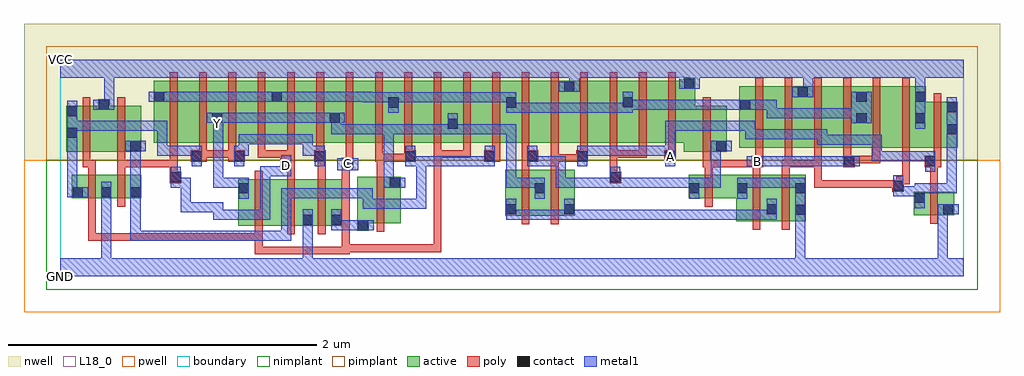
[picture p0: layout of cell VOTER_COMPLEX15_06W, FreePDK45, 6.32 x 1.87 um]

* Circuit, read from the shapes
.subckt VOTER_COMPLEX15_06W A B C D GND VCC Y
M1 GND C n1 VSUBS nfet w=0.15u l=0.05u
M2 n2 D GND VSUBS nfet w=0.15u l=0.05u
M3 n3 C Y VSUBS nfet w=0.3u l=0.05u
M4 GND D n3 VSUBS nfet w=0.3u l=0.05u
M5 n4 n1 GND VSUBS nfet w=0.3u l=0.05u
M6 Y n2 n4 VSUBS nfet w=0.3u l=0.05u
M7 Y n5 n6 VSUBS nfet w=0.3u l=0.05u
M8 n6 A Y VSUBS nfet w=0.3u l=0.05u
M9 GND B n5 VSUBS nfet w=0.15u l=0.05u
M10 n6 B GND VSUBS nfet w=0.3u l=0.05u
M11 GND n7 n6 VSUBS nfet w=0.3u l=0.05u
M12 GND A n7 VSUBS nfet w=0.15u l=0.05u
M13 VCC C n1 n8 pfet w=0.3u l=0.05u
M14 n2 D VCC n8 pfet w=0.3u l=0.05u
M15 n9 D n10 n8 pfet w=0.4u l=0.05u
M16 Y n1 n9 n8 pfet w=0.4u l=0.05u
M17 n11 n1 Y n8 pfet w=0.4u l=0.05u
M18 n10 D n11 n8 pfet w=0.4u l=0.05u
M19 n12 D n10 n8 pfet w=0.4u l=0.05u
M20 Y n1 n12 n8 pfet w=0.4u l=0.05u
M21 n13 C Y n8 pfet w=0.4u l=0.05u
M22 n10 n2 n13 n8 pfet w=0.4u l=0.05u
M23 n14 n2 n10 n8 pfet w=0.4u l=0.05u
M24 Y C n14 n8 pfet w=0.4u l=0.05u
M25 n15 C Y n8 pfet w=0.4u l=0.05u
M26 n10 n2 n15 n8 pfet w=0.4u l=0.05u
M27 n16 n5 n10 n8 pfet w=0.4u l=0.05u
M28 VCC A n16 n8 pfet w=0.4u l=0.05u
M29 n17 A VCC n8 pfet w=0.4u l=0.05u
M30 n10 n5 n17 n8 pfet w=0.4u l=0.05u
M31 n18 n5 n10 n8 pfet w=0.4u l=0.05u
M32 VCC A n18 n8 pfet w=0.4u l=0.05u
M33 n5 B VCC n8 pfet w=0.3u l=0.05u
M34 n19 B n10 n8 pfet w=0.4u l=0.05u
M35 VCC n7 n19 n8 pfet w=0.4u l=0.05u
M36 n20 n7 VCC n8 pfet w=0.4u l=0.05u
M37 n10 B n20 n8 pfet w=0.4u l=0.05u
M38 n21 B n10 n8 pfet w=0.4u l=0.05u
M39 VCC n7 n21 n8 pfet w=0.4u l=0.05u
M40 n7 A VCC n8 pfet w=0.3u l=0.05u
.ends

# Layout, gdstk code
import gdstk
lib = gdstk.Library(unit=1e-6, precision=1e-09)
def R(c, l, rs):  # rectangles x0, y0, x1, y1
    for r in rs: c.add(gdstk.rectangle(r[:2], r[2:], *l))
def A(c, l, x, y, w, h, nx, ny, dx, dy):  # array of equal rectangles
    R(c, l, [(x+i*dx, y+j*dy, x+i*dx+w, y+j*dy+h) for i in range(nx) for j in range(ny)])
active = (1, 0)
pwell = (2, 0)
nwell = (3, 0)
nimplant = (4, 0)
pimplant = (5, 0)
poly = (9, 0)
contact = (10, 0)
metal1 = (11, 0)
L18_0 = (18, 0)
boundary = (235, 0)

voter_complex15_06w = lib.new_cell('VOTER_COMPLEX15_06W')
A(voter_complex15_06w, active, 4.625, 0.83, 0.225, 0.4, 3, 1, 0.38, 0)
R(voter_complex15_06w, active, [(1.925,0.292,2,0.517), (1.152,0.327,1.4,0.627), (1.4,0.327,1.64,0.627), (1.565,0.327,1.825,0.627), (1.565,0.327,1.64,0.517), (1.75,0.327,1.825,0.517), (1.925,0.342,2.205,0.642), (2.13,0.342,2.205,0.642), (4.382,0.355,4.457,0.655), (4.382,0.355,4.647,0.655), (4.572,0.355,4.832,0.655), (4.572,0.355,4.647,0.597), (4.757,0.355,4.832,0.655), (2.885,0.39,2.96,0.69), (2.885,0.39,3.145,0.69), (3.07,0.39,3.335,0.69), (3.26,0.39,3.335,0.69), (1.152,0.395,1.262,0.627), (3.07,0.395,3.145,0.607), (5.532,0.395,5.607,0.545), (5.532,0.395,5.792,0.545), (5.717,0.395,5.792,0.545), (0.075,0.505,0.15,0.655), (0.075,0.505,0.335,0.655), (0.26,0.505,0.335,0.655), (0.26,0.505,0.525,0.655), (0.45,0.505,0.525,0.655), (4.072,0.505,4.147,0.655), (4.072,0.505,4.457,0.655), (0.04,0.805,0.115,1.105), (0.04,0.805,0.32,1.105), (0.245,0.805,0.525,1.105), (0.45,0.805,0.525,0.94), (4.04,0.805,4.32,1.105), (4.245,0.805,4.32,0.917), (4.4,0.83,4.625,1.23), (4.775,0.83,5.005,1.23), (5.155,0.83,5.23,1.2), (5.155,0.83,5.385,1.23), (5.535,0.83,5.815,1.13), (5.535,0.83,5.61,1.2), (5.74,0.83,5.815,1.13), (4.775,0.85,4.85,1.23), (0.605,0.865,0.83,1.265), (0.83,0.865,1.055,1.265), (0.98,0.865,1.21,1.265), (0.98,0.865,1.055,1.07), (1.21,0.865,1.44,1.265), (1.365,0.865,1.59,1.265), (1.59,0.865,1.815,1.265), (1.74,0.865,1.97,1.265), (1.74,0.865,1.815,1.07), (1.97,0.865,2.197,1.265), (2.122,0.865,2.197,1.2), (2.122,0.865,2.35,1.265), (2.35,0.865,2.58,1.265), (2.505,0.865,2.73,1.265), (2.505,0.865,2.58,1.07), (2.73,0.865,2.96,1.265), (2.885,0.865,3.11,1.265), (2.885,0.865,2.96,1.2), (3.11,0.865,3.335,1.265), (3.26,0.865,3.49,1.265), (3.26,0.865,3.335,1.265), (3.49,0.865,3.715,1.265), (3.64,0.865,3.87,1.265), (3.64,0.865,3.715,1.2), (3.87,0.865,4.115,1.265), (0.245,0.885,0.32,1.147), (1.365,0.89,1.44,1.2), (0.605,0.907,0.71,1.2), (4.04,0.907,4.115,1.285), (4.4,0.907,4.505,1.2)])
R(voter_complex15_06w, pwell, [(-0.235,-0.235,6.09,0.75)])
R(voter_complex15_06w, nwell, [(-0.235,0.75,6.09,1.635)])
R(voter_complex15_06w, nimplant, [(-0.09,-0.09,5.945,0.75)])
R(voter_complex15_06w, pimplant, [(-0.09,0.75,5.945,1.49)])
A(voter_complex15_06w, poly, 0.9, 0.765, 0.05, 0.095, 5, 1, 0.19, 0)
A(voter_complex15_06w, poly, 2.23, 0.765, 0.05, 0.095, 5, 1, 0.19, 0)
A(voter_complex15_06w, poly, 3.37, 0.765, 0.05, 0.095, 4, 1, 0.19, 0)
A(voter_complex15_06w, poly, 4.505, 0.775, 0.05, 0.51, 6, 1, 0.19, 0)
A(voter_complex15_06w, poly, 0.71, 0.81, 0.05, 0.51, 18, 1, 0.19, 0)
R(voter_complex15_06w, poly, [(1.262,0.14,1.462,0.19), (1.262,0.14,1.312,0.277), (1.412,0.14,1.462,0.19), (1.412,0.14,1.462,0.19), (1.412,0.14,1.462,0.19), (1.412,0.14,1.61,0.19), (1.56,0.14,1.61,0.19), (1.56,0.14,1.61,0.19), (1.56,0.14,1.61,0.19), (1.56,0.14,1.742,0.19), (1.692,0.14,1.742,0.19), (1.692,0.14,1.875,0.19), (1.825,0.14,1.875,0.205), (1.825,0.155,1.875,0.205), (1.825,0.155,1.875,0.205), (1.825,0.155,1.875,0.205), (1.825,0.155,1.875,0.205), (1.825,0.155,2.007,0.205), (1.825,0.155,1.875,0.742), (1.957,0.155,2.007,0.205), (1.957,0.155,2.205,0.205), (2.155,0.155,2.205,0.205), (2.155,0.155,2.337,0.205), (2.287,0.155,2.337,0.205), (2.287,0.155,2.337,0.205), (2.287,0.155,2.337,0.205), (2.287,0.155,2.337,0.205), (2.287,0.155,2.337,0.205), (2.287,0.155,2.337,0.205), (2.287,0.155,2.337,0.205), (2.287,0.155,2.47,0.205), (2.42,0.155,2.47,0.205), (2.42,0.155,2.47,0.815), (0.18,0.227,0.23,0.277), (0.18,0.227,0.23,0.277), (0.18,0.227,0.23,0.277), (0.18,0.227,0.23,0.277), (0.18,0.227,0.23,0.277), (0.18,0.227,0.42,0.277), (0.18,0.227,0.23,0.5), (0.37,0.227,0.42,0.277), (0.37,0.227,0.42,0.277), (0.37,0.227,0.42,0.277), (0.37,0.227,0.552,0.277), (0.502,0.227,0.552,0.277), (0.502,0.227,0.552,0.277), (0.502,0.227,0.552,0.277), (0.502,0.227,0.892,0.277), (0.842,0.227,0.892,0.277), (0.842,0.227,0.892,0.277), (0.842,0.227,0.892,0.277), (0.842,0.227,1.152,0.277), (1.102,0.227,1.152,0.277), (1.102,0.227,1.152,0.277), (1.102,0.227,1.152,0.277), (1.102,0.227,1.312,0.277), (1.262,0.227,1.312,0.322), (1.262,0.227,1.312,0.277), (1.262,0.227,1.312,0.277), (1.262,0.272,1.312,0.682), (1.47,0.272,1.52,0.682), (1.67,0.272,1.72,0.682), (2.05,0.287,2.1,0.697), (4.487,0.3,4.537,0.71), (4.677,0.3,4.727,0.71), (2.99,0.335,3.04,0.745), (3.18,0.335,3.23,0.745), (5.637,0.34,5.687,0.6), (0.18,0.45,0.23,0.71), (0.37,0.45,0.42,0.71), (4.177,0.45,4.227,0.71), (5.392,0.547,5.467,0.622), (5.637,0.55,5.687,0.755), (4.885,0.572,4.935,0.622), (4.885,0.572,4.935,0.622), (4.885,0.572,4.935,0.622), (4.885,0.572,5.162,0.622), (4.885,0.572,4.935,0.755), (5.112,0.572,5.162,0.622), (5.112,0.572,5.162,0.622), (5.112,0.572,5.162,0.622), (5.112,0.572,5.295,0.622), (5.245,0.572,5.295,0.622), (5.245,0.572,5.442,0.622), (5.392,0.572,5.442,0.622), (5.392,0.572,5.442,0.622), (5.417,0.572,5.467,0.645), (5.417,0.572,5.467,0.622), (5.417,0.572,5.467,0.622), (5.417,0.595,5.505,0.645), (5.455,0.595,5.505,0.825), (0.71,0.602,0.785,0.677), (3.56,0.602,3.635,0.677), (0.71,0.627,0.76,0.755), (3.56,0.627,3.61,0.677), (3.56,0.627,3.61,0.677), (3.56,0.627,3.61,0.815), (1.47,0.632,1.52,0.727), (1.67,0.632,1.72,0.79), (2.05,0.647,2.1,0.792), (0.18,0.66,0.23,0.755), (0.37,0.66,0.42,0.755), (4.177,0.66,4.227,0.755), (4.487,0.66,4.537,0.755), (4.677,0.66,4.727,0.755), (1.427,0.677,1.52,0.815), (1.825,0.692,1.875,0.742), (1.825,0.692,1.875,0.742), (1.825,0.692,1.875,0.742), (1.825,0.692,1.875,0.742), (1.825,0.692,1.9,0.767), (2.99,0.695,3.04,0.79), (3.18,0.695,3.23,0.79), (0.145,0.705,0.195,0.8), (0.145,0.705,0.23,0.755), (0.37,0.705,0.42,0.8), (0.37,0.705,0.42,0.755), (0.37,0.705,0.42,0.755), (0.37,0.705,0.42,0.755), (0.37,0.705,0.76,0.755), (0.71,0.705,0.76,0.755), (0.71,0.705,0.76,0.755), (0.71,0.705,0.76,0.755), (0.71,0.705,0.76,0.755), (0.71,0.705,0.76,0.755), (0.71,0.705,0.76,0.86), (4.165,0.705,4.215,0.8), (4.165,0.705,4.227,0.755), (4.177,0.705,4.227,0.755), (4.177,0.705,4.227,0.755), (4.177,0.705,4.53,0.755), (4.48,0.705,4.53,0.755), (4.48,0.705,4.53,0.755), (4.48,0.705,4.555,0.78), (4.677,0.705,4.745,0.755), (4.695,0.705,4.745,0.755), (4.695,0.705,4.745,0.755), (4.695,0.705,4.745,0.825), (4.695,0.705,4.935,0.755), (4.885,0.705,4.935,0.755), (4.885,0.705,4.935,0.755), (4.885,0.705,4.935,0.755), (4.885,0.705,4.935,0.825), (5.075,0.705,5.15,0.78), (5.602,0.705,5.71,0.78), (1.85,0.717,1.9,0.86), (4.505,0.73,4.555,0.825), (5.075,0.73,5.125,0.825), (5.1,0.73,5.15,0.78), (5.1,0.73,5.15,0.78), (5.1,0.73,5.315,0.78), (5.265,0.73,5.315,0.825), (5.265,0.73,5.315,0.78), (5.66,0.73,5.71,0.825), (0.847,0.74,0.95,0.815), (1.09,0.74,1.197,0.815), (1.645,0.74,1.72,0.815), (2.23,0.74,2.305,0.815), (2.747,0.74,2.85,0.815), (2.99,0.74,3.097,0.815), (3.18,0.74,3.23,0.79), (3.18,0.74,3.23,0.79), (3.18,0.74,3.23,0.79), (3.18,0.74,3.395,0.79), (3.18,0.74,3.23,0.86), (3.345,0.74,3.42,0.815), (3.915,0.74,3.99,0.815), (2.04,0.742,2.09,0.86), (2.04,0.742,2.1,0.792), (2.05,0.742,2.1,0.792), (2.05,0.742,2.1,0.792), (2.05,0.742,2.28,0.792), (0.145,0.75,0.195,1.16), (0.37,0.75,0.42,1.16), (4.165,0.75,4.215,1.16), (0.9,0.765,1.14,0.815), (1.09,0.765,1.14,0.815), (1.09,0.765,1.14,0.815), (1.28,0.765,1.33,0.815), (1.28,0.765,1.477,0.815), (1.427,0.765,1.477,0.815), (1.427,0.765,1.477,0.815), (2.42,0.765,2.47,0.815), (2.42,0.765,2.47,0.815), (2.42,0.765,2.47,0.815), (2.42,0.765,2.47,0.815), (2.42,0.765,2.47,0.815), (2.42,0.765,2.66,0.815), (2.61,0.765,2.66,0.815), (3.56,0.765,3.61,0.815), (3.56,0.765,3.8,0.815), (3.75,0.765,3.8,0.815), (3.75,0.765,3.8,0.815), (3.75,0.765,3.8,0.815), (5.66,0.775,5.71,1.185)])
R(voter_complex15_06w, contact, [(1.93,0.297,1.995,0.362), (1.57,0.332,1.635,0.397), (1.755,0.332,1.82,0.397), (4.762,0.397,4.827,0.462), (2.89,0.4,2.955,0.465), (3.265,0.4,3.33,0.465), (4.577,0.4,4.642,0.465), (5.722,0.4,5.787,0.465), (5.537,0.475,5.602,0.54), (0.08,0.51,0.145,0.575), (0.265,0.51,0.33,0.575), (0.455,0.51,0.52,0.575), (1.157,0.537,1.222,0.602), (3.075,0.537,3.14,0.602), (4.077,0.537,4.142,0.602), (4.387,0.537,4.452,0.602), (4.762,0.537,4.827,0.602), (5.397,0.552,5.462,0.617), (2.135,0.572,2.2,0.637), (0.715,0.607,0.78,0.672), (3.565,0.607,3.63,0.672), (1.432,0.682,1.497,0.747), (1.83,0.697,1.895,0.762), (4.485,0.71,4.55,0.775), (5.08,0.71,5.145,0.775), (5.607,0.71,5.672,0.775), (0.852,0.745,0.917,0.81), (1.127,0.745,1.192,0.81), (1.65,0.745,1.715,0.81), (2.235,0.745,2.3,0.81), (2.752,0.745,2.817,0.81), (3.027,0.745,3.092,0.81), (3.35,0.745,3.415,0.81), (3.92,0.745,3.985,0.81), (0.455,0.81,0.52,0.875), (4.25,0.81,4.315,0.875), (0.045,0.895,0.11,0.96), (5.745,0.92,5.81,0.985), (2.51,0.955,2.575,1.02), (5.16,0.99,5.225,1.055), (5.54,0.99,5.605,1.055), (0.985,0.992,1.05,1.057), (1.745,0.992,1.81,1.057), (0.045,1.035,0.11,1.1), (5.745,1.06,5.81,1.125), (0.25,1.077,0.315,1.142), (4.405,1.077,4.47,1.142), (2.127,1.092,2.192,1.157), (2.89,1.092,2.955,1.157), (3.645,1.095,3.71,1.16), (0.61,1.13,0.675,1.195), (1.37,1.13,1.435,1.195), (5.16,1.13,5.225,1.195), (5.54,1.13,5.605,1.195), (4.78,1.16,4.845,1.225), (3.265,1.195,3.33,1.26), (4.045,1.215,4.11,1.28)])
R(voter_complex15_06w, metal1, [(0,0,5.855,0.115), (0.265,0.05,0.33,0.115), (0.265,0.05,0.33,0.115), (0.265,0.05,0.33,0.54), (1.57,0.05,1.635,0.115), (1.57,0.05,1.635,0.115), (1.57,0.05,1.635,0.115), (1.57,0.05,1.635,0.115), (1.57,0.05,1.635,0.362), (4.762,0.05,4.827,0.115), (4.762,0.05,4.827,0.115), (4.762,0.05,4.827,0.115), (4.762,0.05,4.827,0.115), (4.762,0.05,4.827,0.427), (5.687,0.05,5.752,0.115), (5.687,0.05,5.752,0.115), (5.687,0.05,5.752,0.115), (5.687,0.05,5.752,0.115), (5.687,0.05,5.752,0.465), (0.455,0.227,0.52,0.292), (0.455,0.227,0.692,0.292), (0.455,0.227,0.52,0.54), (0.627,0.227,0.692,0.292), (0.627,0.227,0.847,0.292), (0.782,0.227,0.847,0.292), (0.782,0.227,0.985,0.292), (0.92,0.227,0.985,0.292), (0.92,0.227,0.985,0.292), (0.92,0.227,0.985,0.292), (0.92,0.227,1.222,0.292), (1.157,0.227,1.222,0.292), (1.157,0.227,1.222,0.292), (1.157,0.227,1.222,0.292), (1.157,0.227,1.36,0.292), (1.295,0.227,1.36,0.292), (1.295,0.227,1.497,0.292), (1.432,0.227,1.497,0.292), (1.432,0.227,1.497,0.57), (1.57,0.297,1.635,0.432), (1.755,0.297,1.82,0.362), (1.755,0.297,1.82,0.362), (1.755,0.297,1.82,0.432), (1.755,0.297,1.96,0.362), (1.895,0.297,2.03,0.362), (4.762,0.362,4.827,0.637), (0.99,0.365,1.222,0.43), (0.99,0.365,1.055,0.477), (1.157,0.365,1.222,0.43), (1.157,0.365,1.222,0.43), (1.157,0.365,1.222,0.43), (1.157,0.365,1.36,0.43), (1.295,0.365,1.36,0.43), (1.295,0.365,1.36,0.712), (2.89,0.365,2.955,0.5), (2.89,0.365,3.092,0.43), (3.027,0.365,3.092,0.43), (3.027,0.365,3.092,0.43), (3.027,0.365,3.092,0.43), (3.027,0.365,3.277,0.43), (3.212,0.365,3.277,0.43), (3.212,0.365,3.33,0.43), (3.265,0.365,3.33,0.5), (3.265,0.365,3.467,0.43), (3.402,0.365,3.467,0.43), (3.402,0.365,3.467,0.43), (3.402,0.365,3.467,0.43), (3.402,0.365,3.71,0.43), (3.645,0.365,3.71,0.43), (3.645,0.365,3.71,0.43), (3.645,0.365,3.71,0.43), (3.645,0.365,3.847,0.43), (3.782,0.365,3.847,0.43), (3.782,0.365,3.847,0.43), (3.782,0.365,3.847,0.43), (3.782,0.365,4.005,0.43), (3.94,0.365,4.005,0.43), (3.94,0.365,4.005,0.43), (3.94,0.365,4.005,0.43), (3.94,0.365,4.28,0.43), (4.215,0.365,4.28,0.43), (4.215,0.365,4.28,0.43), (4.215,0.365,4.28,0.43), (4.215,0.365,4.417,0.43), (4.352,0.365,4.417,0.43), (4.352,0.365,4.417,0.43), (4.352,0.365,4.417,0.43), (4.352,0.365,4.642,0.43), (4.577,0.365,4.642,0.5), (5.687,0.4,5.752,0.465), (5.687,0.4,5.752,0.465), (5.687,0.4,5.822,0.465), (0.782,0.412,1.055,0.477), (0.782,0.412,0.847,0.637), (0.99,0.412,1.055,0.477), (0.99,0.412,1.055,0.477), (1.96,0.435,2.025,0.5), (1.96,0.435,2.025,0.5), (1.96,0.435,2.025,0.57), (1.96,0.435,2.162,0.5), (2.097,0.435,2.162,0.5), (2.097,0.435,2.162,0.5), (2.097,0.435,2.162,0.5), (2.097,0.435,2.372,0.5), (2.307,0.435,2.372,0.5), (2.307,0.435,2.372,0.775), (5.537,0.44,5.602,0.582), (0.265,0.475,0.33,0.54), (0.265,0.475,0.33,0.54), (0.265,0.475,0.33,0.54), (0.265,0.475,0.33,0.54), (0.265,0.475,0.33,0.61), (0.455,0.475,0.52,0.54), (0.455,0.475,0.52,0.54), (0.455,0.475,0.52,0.54), (0.455,0.475,0.52,0.54), (0.455,0.475,0.52,0.61), (1.157,0.502,1.222,0.637), (3.075,0.502,3.14,0.637), (4.077,0.502,4.142,0.637), (4.387,0.502,4.452,0.637), (1.432,0.505,1.497,0.57), (1.432,0.505,1.497,0.57), (1.432,0.505,1.497,0.57), (1.432,0.505,1.637,0.57), (1.572,0.505,1.637,0.57), (1.572,0.505,1.637,0.57), (1.572,0.505,1.637,0.57), (1.572,0.505,1.822,0.57), (1.757,0.505,1.822,0.57), (1.757,0.505,1.822,0.57), (1.757,0.505,1.822,0.57), (1.757,0.505,2.025,0.57), (0.045,0.51,0.18,0.575), (0.045,0.51,0.11,0.925), (5.397,0.517,5.462,0.652), (5.397,0.517,5.602,0.582), (5.537,0.517,5.602,0.602), (5.537,0.537,5.602,0.602), (5.537,0.537,5.602,0.602), (5.537,0.537,5.602,0.602), (5.537,0.537,5.81,0.602), (5.745,0.537,5.81,0.95), (5.745,0.537,5.81,0.602), (5.745,0.537,5.81,0.602), (5.745,0.537,5.81,0.602), (0.455,0.545,0.52,0.61), (0.455,0.545,0.52,0.61), (0.455,0.545,0.52,0.875), (0.715,0.572,0.78,0.707), (0.715,0.572,0.847,0.637), (0.99,0.572,1.055,0.637), (0.99,0.572,1.055,0.987), (0.99,0.572,1.222,0.637), (1.157,0.572,1.222,0.637), (1.157,0.572,1.222,0.637), (2.097,0.572,2.162,0.985), (2.097,0.572,2.162,0.637), (2.097,0.572,2.162,0.637), (2.097,0.572,2.235,0.637), (2.89,0.572,2.955,0.985), (2.89,0.572,2.955,0.637), (2.89,0.572,2.955,0.637), (2.89,0.572,2.955,0.637), (2.89,0.572,2.955,0.637), (2.89,0.572,2.955,0.637), (2.89,0.572,3.14,0.637), (3.212,0.572,3.277,0.637), (3.212,0.572,3.467,0.637), (3.212,0.572,3.277,0.775), (3.402,0.572,3.467,0.637), (3.402,0.572,3.467,0.637), (3.402,0.572,3.467,0.637), (3.402,0.572,3.467,0.637), (3.402,0.572,3.467,0.637), (3.402,0.572,3.63,0.637), (3.565,0.572,3.63,0.637), (3.565,0.572,3.63,0.637), (3.565,0.572,3.63,0.637), (3.565,0.572,3.63,0.637), (3.565,0.572,3.63,0.707), (3.565,0.572,3.847,0.637), (3.782,0.572,3.847,0.637), (3.782,0.572,3.847,0.637), (3.782,0.572,3.847,0.637), (3.782,0.572,4.005,0.637), (3.94,0.572,4.005,0.637), (3.94,0.572,4.142,0.637), (4.077,0.572,4.142,0.637), (4.077,0.572,4.142,0.637), (4.077,0.572,4.28,0.637), (4.215,0.572,4.28,0.637), (4.215,0.572,4.28,0.637), (4.215,0.572,4.28,0.637), (4.215,0.572,4.28,0.875), (4.387,0.572,4.452,0.637), (4.387,0.572,4.452,0.637), (4.387,0.572,4.642,0.637), (4.577,0.572,4.642,0.637), (4.577,0.572,4.827,0.637), (4.762,0.572,4.827,0.637), (4.762,0.572,4.827,0.637), (4.762,0.572,4.827,0.637), (4.762,0.572,4.827,0.637), (1.295,0.647,1.36,0.712), (1.295,0.647,1.497,0.712), (1.432,0.647,1.497,0.712), (1.432,0.647,1.497,0.712), (1.432,0.647,1.497,0.712), (1.432,0.647,1.497,0.712), (1.432,0.647,1.497,0.782), (5.607,0.675,5.672,0.81), (1.795,0.685,1.93,0.762), (0.852,0.71,0.917,0.845), (1.127,0.71,1.192,0.845), (1.65,0.71,1.715,0.845), (2.235,0.71,2.372,0.775), (2.235,0.71,2.3,0.845), (2.307,0.71,2.372,0.775), (2.307,0.71,2.372,0.775), (2.307,0.71,2.372,0.775), (2.307,0.71,2.437,0.775), (2.372,0.71,2.437,0.775), (2.372,0.71,2.575,0.775), (2.51,0.71,2.575,0.775), (2.51,0.71,2.575,0.775), (2.51,0.71,2.575,0.775), (2.51,0.71,2.817,0.775), (2.752,0.71,2.817,0.775), (2.752,0.71,2.817,0.775), (2.752,0.71,2.817,0.845), (3.027,0.71,3.092,0.775), (3.027,0.71,3.092,0.775), (3.027,0.71,3.092,0.845), (3.027,0.71,3.277,0.775), (3.212,0.71,3.277,0.775), (3.212,0.71,3.277,0.775), (3.212,0.71,3.277,0.775), (3.35,0.71,3.415,0.845), (3.92,0.71,3.985,0.845), (4.45,0.71,4.585,0.775), (4.52,0.71,4.642,0.775), (4.577,0.71,4.642,0.775), (4.577,0.71,4.835,0.775), (4.77,0.71,4.835,0.775), (4.77,0.71,4.835,0.775), (4.77,0.71,4.835,0.775), (4.77,0.71,4.972,0.775), (4.907,0.71,4.972,0.775), (4.907,0.71,4.972,0.775), (4.907,0.71,4.972,0.775), (4.907,0.71,5.11,0.775), (5.045,0.71,5.18,0.775), (5.26,0.745,5.325,0.81), (5.26,0.745,5.325,0.81), (5.26,0.745,5.325,0.81), (5.26,0.745,5.462,0.81), (5.26,0.745,5.325,0.917), (5.397,0.745,5.462,0.81), (5.397,0.745,5.462,0.81), (5.397,0.745,5.462,0.81), (5.397,0.745,5.6,0.81), (5.535,0.745,5.6,0.81), (5.535,0.745,5.672,0.81), (0.627,0.78,0.692,0.845), (0.627,0.78,0.692,0.845), (0.627,0.78,0.692,0.845), (0.627,0.78,0.847,0.845), (0.627,0.78,0.692,1.005), (0.782,0.78,0.847,0.845), (0.782,0.78,0.847,0.845), (0.782,0.78,0.847,0.845), (0.782,0.78,0.917,0.845), (1.127,0.78,1.222,0.845), (1.157,0.78,1.222,0.845), (1.157,0.78,1.222,0.92), (1.57,0.78,1.635,0.845), (1.57,0.78,1.715,0.845), (1.57,0.78,1.635,0.92), (3.35,0.78,3.467,0.845), (3.402,0.78,3.467,0.845), (3.402,0.78,3.71,0.845), (3.645,0.78,3.71,0.845), (3.645,0.78,3.71,0.845), (3.645,0.78,3.71,0.845), (3.645,0.78,3.847,0.845), (3.782,0.78,3.847,0.845), (3.782,0.78,3.847,0.845), (3.782,0.78,3.847,0.845), (3.782,0.78,3.985,0.845), (3.92,0.78,3.985,0.845), (3.92,0.78,3.985,0.845), (3.92,0.78,3.985,1.005), (0.42,0.81,0.555,0.875), (4.215,0.81,4.35,0.875), (4.907,0.852,4.972,0.917), (4.907,0.852,5.11,0.917), (4.907,0.852,4.972,0.95), (5.045,0.852,5.11,0.917), (5.045,0.852,5.325,0.917), (5.26,0.852,5.325,0.917), (1.157,0.855,1.222,0.92), (1.157,0.855,1.36,0.92), (1.295,0.855,1.36,0.92), (1.295,0.855,1.497,0.92), (1.432,0.855,1.497,0.92), (1.432,0.855,1.497,0.92), (1.432,0.855,1.497,0.92), (1.432,0.855,1.635,0.92), (1.57,0.855,1.635,0.92), (0.045,0.86,0.11,1.135), (0.045,0.86,0.11,0.925), (0.045,0.86,0.11,0.925), (4.44,0.885,4.642,0.95), (4.44,0.885,4.505,1.005), (4.577,0.885,4.642,0.95), (4.577,0.885,4.642,0.95), (4.577,0.885,4.642,0.95), (4.577,0.885,4.78,0.95), (4.715,0.885,4.78,0.95), (4.715,0.885,4.78,0.95), (4.715,0.885,4.78,0.95), (4.715,0.885,4.972,0.95), (4.907,0.885,4.972,0.95), (4.907,0.885,4.972,0.95), (4.907,0.885,4.972,0.95), (5.745,0.885,5.81,1.16), (1.757,0.92,1.822,0.985), (1.757,0.92,1.822,0.985), (1.757,0.92,1.822,0.985), (1.757,0.92,2.01,0.985), (1.757,0.92,1.822,1.057), (1.945,0.92,2.01,0.985), (1.945,0.92,2.01,0.985), (1.945,0.92,2.01,0.985), (1.945,0.92,2.162,0.985), (2.097,0.92,2.162,0.985), (2.097,0.92,2.162,0.985), (2.097,0.92,2.162,0.985), (2.097,0.92,2.437,0.985), (2.372,0.92,2.437,0.985), (2.372,0.92,2.437,0.985), (2.372,0.92,2.437,0.985), (2.372,0.92,2.575,0.985), (2.51,0.92,2.575,0.985), (2.51,0.92,2.575,0.985), (2.51,0.92,2.575,1.055), (2.51,0.92,2.817,0.985), (2.752,0.92,2.817,0.985), (2.752,0.92,2.817,0.985), (2.752,0.92,2.817,0.985), (2.752,0.92,2.955,0.985), (2.89,0.92,2.955,0.985), (0.99,0.922,1.055,1.057), (0.045,0.94,0.11,1.005), (0.045,0.94,0.11,1.005), (0.045,0.94,0.347,1.005), (0.282,0.94,0.347,1.005), (0.282,0.94,0.347,1.005), (0.282,0.94,0.347,1.005), (0.282,0.94,0.347,1.005), (0.282,0.94,0.347,1.005), (0.282,0.94,0.555,1.005), (0.49,0.94,0.555,1.005), (0.49,0.94,0.692,1.005), (0.627,0.94,0.692,1.005), (3.92,0.94,3.985,1.005), (3.92,0.94,3.985,1.005), (3.92,0.94,3.985,1.005), (3.92,0.94,4.142,1.005), (4.077,0.94,4.142,1.005), (4.077,0.94,4.28,1.005), (4.215,0.94,4.28,1.005), (4.215,0.94,4.505,1.005), (5.54,0.955,5.605,1.23), (5.125,0.99,5.26,1.195), (0.95,0.992,1.085,1.057), (0.99,0.992,1.055,1.057), (1.02,0.992,1.085,1.057), (1.02,0.992,1.085,1.057), (1.02,0.992,1.222,1.057), (1.157,0.992,1.222,1.057), (1.157,0.992,1.222,1.057), (1.157,0.992,1.222,1.057), (1.157,0.992,1.36,1.057), (1.295,0.992,1.36,1.057), (1.295,0.992,1.497,1.057), (1.432,0.992,1.497,1.057), (1.432,0.992,1.497,1.057), (1.432,0.992,1.497,1.057), (1.432,0.992,1.637,1.057), (1.572,0.992,1.637,1.057), (1.572,0.992,1.637,1.057), (1.572,0.992,1.637,1.057), (1.572,0.992,1.775,1.057), (1.71,0.992,1.845,1.057), (4.577,1.022,4.78,1.087), (4.577,1.022,4.642,1.142), (4.715,1.022,4.78,1.087), (4.715,1.022,4.78,1.087), (4.715,1.022,4.78,1.087), (4.715,1.022,4.972,1.087), (4.907,1.022,4.972,1.087), (4.907,1.022,4.972,1.087), (4.907,1.022,4.972,1.087), (4.907,1.022,5.11,1.087), (5.045,1.022,5.11,1.087), (5.045,1.022,5.19,1.087), (2.127,1.057,2.192,1.192), (2.89,1.057,2.955,1.192), (2.89,1.057,3.092,1.122), (3.027,1.057,3.092,1.122), (3.027,1.057,3.092,1.122), (3.027,1.057,3.092,1.122), (3.027,1.057,3.23,1.122), (3.165,1.057,3.23,1.122), (3.165,1.057,3.23,1.122), (3.165,1.057,3.23,1.122), (3.165,1.057,3.492,1.122), (3.427,1.057,3.492,1.122), (3.427,1.057,3.492,1.122), (3.427,1.057,3.492,1.122), (3.427,1.057,3.71,1.122), (3.645,1.057,3.71,1.125), (3.645,1.06,3.71,1.125), (3.645,1.06,3.71,1.195), (0.215,1.077,0.35,1.142), (0.285,1.077,0.35,1.142), (0.285,1.077,0.35,1.142), (0.285,1.077,0.35,1.35), (3.645,1.077,3.847,1.142), (3.782,1.077,3.847,1.142), (3.782,1.077,3.847,1.142), (3.782,1.077,3.847,1.142), (3.782,1.077,3.985,1.142), (3.92,1.077,3.985,1.142), (3.92,1.077,3.985,1.142), (3.92,1.077,3.985,1.142), (3.92,1.077,4.28,1.142), (4.215,1.077,4.28,1.142), (4.215,1.077,4.28,1.142), (4.215,1.077,4.28,1.142), (4.215,1.077,4.435,1.142), (4.37,1.077,4.505,1.142), (4.44,1.077,4.642,1.142), (4.577,1.077,4.642,1.142), (4.577,1.077,4.642,1.142), (1.96,1.127,2.025,1.195), (1.96,1.127,2.192,1.192), (2.127,1.127,2.192,1.192), (2.127,1.127,2.192,1.192), (2.127,1.127,2.437,1.192), (2.372,1.127,2.437,1.192), (2.372,1.127,2.437,1.192), (2.372,1.127,2.437,1.192), (2.372,1.127,2.575,1.192), (2.51,1.127,2.575,1.192), (2.51,1.127,2.575,1.192), (2.51,1.127,2.575,1.192), (2.51,1.127,2.817,1.192), (2.752,1.127,2.817,1.192), (2.752,1.127,2.817,1.192), (2.752,1.127,2.817,1.192), (2.752,1.127,2.955,1.192), (0.575,1.13,0.71,1.195), (0.645,1.13,0.71,1.195), (0.645,1.13,0.71,1.195), (0.645,1.13,0.847,1.195), (0.782,1.13,0.847,1.195), (0.782,1.13,1.055,1.195), (0.99,1.13,1.055,1.195), (0.99,1.13,1.055,1.195), (0.99,1.13,1.055,1.195), (0.99,1.13,1.222,1.195), (1.157,1.13,1.222,1.195), (1.157,1.13,1.222,1.195), (1.157,1.13,1.222,1.195), (1.157,1.13,1.36,1.195), (1.295,1.13,1.36,1.195), (1.295,1.13,1.4,1.195), (1.335,1.13,1.47,1.195), (1.405,1.13,1.497,1.195), (1.432,1.13,1.497,1.195), (1.432,1.13,1.637,1.195), (1.572,1.13,1.637,1.195), (1.572,1.13,1.637,1.195), (1.572,1.13,1.637,1.195), (1.572,1.13,1.822,1.195), (1.757,1.13,1.822,1.195), (1.757,1.13,1.822,1.195), (1.757,1.13,1.822,1.195), (1.757,1.13,2.025,1.195), (1.96,1.13,2.025,1.195), (1.96,1.13,2.025,1.195), (4.745,1.16,4.88,1.225), (4.815,1.16,4.88,1.35), (5.54,1.165,5.605,1.35), (3.23,1.195,3.365,1.26), (3.3,1.195,3.365,1.35), (4.01,1.215,4.145,1.28), (4.08,1.215,4.145,1.35), (0,1.285,5.855,1.4)])
R(voter_complex15_06w, L18_0, [(0,0,5.855,0.115), (0.265,0.05,0.33,0.115), (0.265,0.05,0.33,0.115), (0.265,0.05,0.33,0.54), (1.57,0.05,1.635,0.115), (1.57,0.05,1.635,0.115), (1.57,0.05,1.635,0.115), (1.57,0.05,1.635,0.115), (1.57,0.05,1.635,0.362), (4.762,0.05,4.827,0.115), (4.762,0.05,4.827,0.115), (4.762,0.05,4.827,0.115), (4.762,0.05,4.827,0.115), (4.762,0.05,4.827,0.427), (5.687,0.05,5.752,0.115), (5.687,0.05,5.752,0.115), (5.687,0.05,5.752,0.115), (5.687,0.05,5.752,0.115), (5.687,0.05,5.752,0.465), (1.57,0.297,1.635,0.432), (4.762,0.362,4.827,0.637), (0.99,0.365,1.055,0.477), (0.99,0.365,1.222,0.43), (1.157,0.365,1.222,0.43), (1.157,0.365,1.222,0.43), (1.157,0.365,1.222,0.43), (1.157,0.365,1.36,0.43), (1.295,0.365,1.36,0.43), (1.295,0.365,1.36,0.712), (5.687,0.4,5.752,0.465), (5.687,0.4,5.752,0.465), (5.687,0.4,5.822,0.465), (0.782,0.412,0.847,0.637), (0.782,0.412,1.055,0.477), (0.99,0.412,1.055,0.477), (0.99,0.412,1.055,0.477), (0.265,0.475,0.33,0.54), (0.265,0.475,0.33,0.54), (0.265,0.475,0.33,0.54), (0.265,0.475,0.33,0.54), (0.265,0.475,0.33,0.61), (1.157,0.502,1.222,0.637), (3.075,0.502,3.14,0.637), (4.387,0.502,4.452,0.637), (0.715,0.572,0.78,0.707), (0.715,0.572,0.847,0.637), (0.99,0.572,1.055,0.637), (0.99,0.572,1.055,0.987), (0.99,0.572,1.222,0.637), (1.157,0.572,1.222,0.637), (1.157,0.572,1.222,0.637), (2.097,0.572,2.162,0.637), (2.097,0.572,2.162,0.637), (2.097,0.572,2.235,0.637), (2.097,0.572,2.162,0.985), (2.89,0.572,2.955,0.637), (2.89,0.572,2.955,0.637), (2.89,0.572,2.955,0.637), (2.89,0.572,2.955,0.637), (2.89,0.572,2.955,0.637), (2.89,0.572,2.955,0.985), (2.89,0.572,3.14,0.637), (4.387,0.572,4.452,0.637), (4.387,0.572,4.452,0.637), (4.387,0.572,4.642,0.637), (4.577,0.572,4.642,0.637), (4.577,0.572,4.827,0.637), (4.762,0.572,4.827,0.637), (4.762,0.572,4.827,0.637), (4.762,0.572,4.827,0.637), (4.762,0.572,4.827,0.637), (1.295,0.647,1.36,0.712), (1.295,0.647,1.497,0.712), (1.432,0.647,1.497,0.712), (1.432,0.647,1.497,0.712), (1.432,0.647,1.497,0.712), (1.432,0.647,1.497,0.712), (1.432,0.647,1.497,0.782), (5.607,0.675,5.672,0.81), (1.432,0.682,1.497,0.747), (1.795,0.685,1.93,0.762), (1.83,0.697,1.895,0.762), (3.35,0.71,3.415,0.845), (3.92,0.71,3.985,0.845), (4.45,0.71,4.585,0.775), (4.485,0.71,4.55,0.775), (4.52,0.71,4.642,0.775), (4.577,0.71,4.642,0.775), (4.577,0.71,4.835,0.775), (4.77,0.71,4.835,0.775), (4.77,0.71,4.835,0.775), (4.77,0.71,4.835,0.775), (4.77,0.71,4.972,0.775), (4.907,0.71,4.972,0.775), (4.907,0.71,4.972,0.775), (4.907,0.71,4.972,0.775), (4.907,0.71,5.11,0.775), (5.045,0.71,5.18,0.775), (3.92,0.745,3.985,0.81), (5.26,0.745,5.325,0.81), (5.26,0.745,5.325,0.81), (5.26,0.745,5.325,0.81), (5.26,0.745,5.462,0.81), (5.26,0.745,5.325,0.917), (5.397,0.745,5.462,0.81), (5.397,0.745,5.462,0.81), (5.397,0.745,5.462,0.81), (5.397,0.745,5.6,0.81), (5.535,0.745,5.6,0.81), (5.535,0.745,5.672,0.81), (3.35,0.78,3.467,0.845), (3.402,0.78,3.467,0.845), (3.402,0.78,3.71,0.845), (3.645,0.78,3.71,0.845), (3.645,0.78,3.71,0.845), (3.645,0.78,3.71,0.845), (3.645,0.78,3.847,0.845), (3.782,0.78,3.847,0.845), (3.782,0.78,3.847,0.845), (3.782,0.78,3.847,0.845), (3.782,0.78,3.985,0.845), (3.92,0.78,3.985,0.845), (3.92,0.78,3.985,0.845), (3.92,0.78,3.985,1.005), (4.907,0.852,4.972,0.917), (4.907,0.852,5.11,0.917), (4.907,0.852,4.972,0.95), (5.045,0.852,5.11,0.917), (5.045,0.852,5.325,0.917), (5.26,0.852,5.325,0.917), (4.44,0.885,4.642,0.95), (4.44,0.885,4.505,1.005), (4.577,0.885,4.642,0.95), (4.577,0.885,4.642,0.95), (4.577,0.885,4.642,0.95), (4.577,0.885,4.78,0.95), (4.715,0.885,4.78,0.95), (4.715,0.885,4.78,0.95), (4.715,0.885,4.78,0.95), (4.715,0.885,4.972,0.95), (4.907,0.885,4.972,0.95), (4.907,0.885,4.972,0.95), (4.907,0.885,4.972,0.95), (1.757,0.92,1.822,0.985), (1.757,0.92,1.822,0.985), (1.757,0.92,1.822,0.985), (1.757,0.92,1.822,1.057), (1.757,0.92,2.01,0.985), (1.945,0.92,2.01,0.985), (1.945,0.92,2.01,0.985), (1.945,0.92,2.01,0.985), (1.945,0.92,2.162,0.985), (2.097,0.92,2.162,0.985), (2.097,0.92,2.162,0.985), (2.097,0.92,2.162,0.985), (2.097,0.92,2.437,0.985), (2.372,0.92,2.437,0.985), (2.372,0.92,2.437,0.985), (2.372,0.92,2.437,0.985), (2.372,0.92,2.575,0.985), (2.51,0.92,2.575,0.985), (2.51,0.92,2.575,0.985), (2.51,0.92,2.575,1.055), (2.51,0.92,2.817,0.985), (2.752,0.92,2.817,0.985), (2.752,0.92,2.817,0.985), (2.752,0.92,2.817,0.985), (2.752,0.92,2.955,0.985), (2.89,0.92,2.955,0.985), (0.99,0.922,1.055,1.057), (3.92,0.94,3.985,1.005), (3.92,0.94,3.985,1.005), (3.92,0.94,3.985,1.005), (3.92,0.94,4.142,1.005), (4.077,0.94,4.142,1.005), (4.077,0.94,4.28,1.005), (4.215,0.94,4.28,1.005), (4.215,0.94,4.505,1.005), (5.54,0.955,5.605,1.23), (0.99,0.957,1.055,1.022), (0.95,0.992,1.085,1.057), (0.99,0.992,1.055,1.057), (1.02,0.992,1.085,1.057), (1.02,0.992,1.085,1.057), (1.02,0.992,1.222,1.057), (1.157,0.992,1.222,1.057), (1.157,0.992,1.222,1.057), (1.157,0.992,1.222,1.057), (1.157,0.992,1.36,1.057), (1.295,0.992,1.36,1.057), (1.295,0.992,1.497,1.057), (1.432,0.992,1.497,1.057), (1.432,0.992,1.497,1.057), (1.432,0.992,1.497,1.057), (1.432,0.992,1.637,1.057), (1.572,0.992,1.637,1.057), (1.572,0.992,1.637,1.057), (1.572,0.992,1.637,1.057), (1.572,0.992,1.775,1.057), (1.71,0.992,1.845,1.057), (0.215,1.077,0.35,1.142), (0.285,1.077,0.35,1.142), (0.285,1.077,0.35,1.142), (0.285,1.077,0.35,1.35), (4.745,1.16,4.88,1.225), (4.815,1.16,4.88,1.35), (5.54,1.165,5.605,1.35), (3.23,1.195,3.365,1.26), (3.3,1.195,3.365,1.35), (4.01,1.215,4.145,1.28), (4.08,1.215,4.145,1.35), (0,1.285,5.855,1.4)])
R(voter_complex15_06w, boundary, [(0,0,5.855,1.4)])
voter_complex15_06w.add(gdstk.Label('A', (3.952,0.777), layer=11, texttype=0))
voter_complex15_06w.add(gdstk.Label('B', (4.517,0.742), layer=11, texttype=0))
voter_complex15_06w.add(gdstk.Label('C', (1.862,0.73), layer=11, texttype=0))
voter_complex15_06w.add(gdstk.Label('D', (1.465,0.715), layer=11, texttype=0))
voter_complex15_06w.add(gdstk.Label('Y', (1.022,0.99), layer=11, texttype=0))
voter_complex15_06w.add(gdstk.Label('VCC', (0,1.4), layer=11, texttype=0))
voter_complex15_06w.add(gdstk.Label('GND', (0,0), layer=11, texttype=0))

lib.write_gds('VOTER_COMPLEX15_06W.gds')
